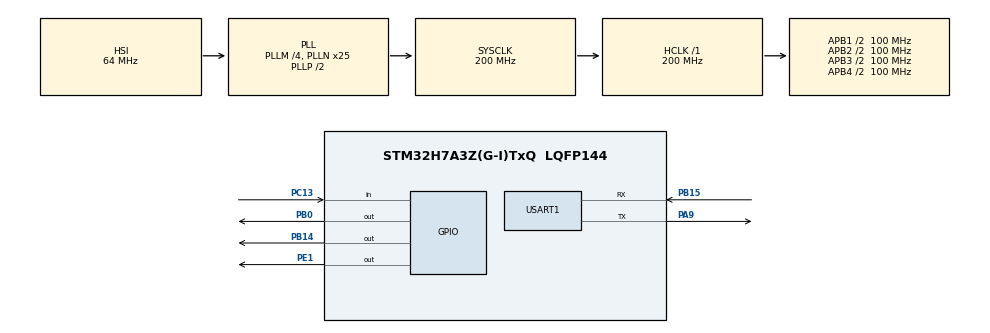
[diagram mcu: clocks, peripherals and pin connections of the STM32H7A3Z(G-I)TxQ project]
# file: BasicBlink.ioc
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CORTEX_M7.default_mode_Activation=1
FREERTOS.Tasks01=defaultTask,0,128,StartDefaultTask,Default,NULL,Dynamic,NULL,NULL
Mcu.Family=STM32H7
Mcu.Name=STM32H7A3Z(G-I)TxQ
Mcu.Package=LQFP144
NUCLEO-H7A3ZI-Q.BUTTON=1
NUCLEO-H7A3ZI-Q.LD1=true
NUCLEO-H7A3ZI-Q.LD2=true
NUCLEO-H7A3ZI-Q.LD3=true
NUCLEO-H7A3ZI-Q.VCP=true
NVIC.EXTI15_10_IRQn=true\:5\:0\:false\:false\:true\:true\:false\:true\:true
NVIC.PriorityGroup=NVIC_PRIORITYGROUP_4
NVIC.TIM1_UP_IRQn=true\:15\:0\:false\:false\:true\:false\:false\:true\:true
NVIC.TimeBase=TIM1_UP_IRQn
NVIC.TimeBaseIP=TIM1
PA9.GPIO_Speed=GPIO_SPEED_FREQ_VERY_HIGH
PA9.Mode=Asynchronous
PA9.Signal=USART1_TX
PB0.Signal=GPIO_Output
PB14.Signal=GPIO_Output
PB15.GPIO_Speed=GPIO_SPEED_FREQ_VERY_HIGH
PB15.Mode=Asynchronous
PB15.Signal=USART1_RX
PC13.Signal=GPIO_Input
PC14-OSC32_IN.GPIO_Label=OSC32_IN
PC14-OSC32_IN.Signal=RCC_OSC32_IN
PC15-OSC32_OUT.GPIO_Label=OSC32_OUT
PC15-OSC32_OUT.Signal=RCC_OSC32_OUT
PD8.Signal=USART3_TX
PD9.Signal=USART3_RX
PE1.Signal=GPIO_Output
PH0-OSC_IN.GPIO_Label=PH0-MCU
PH0-OSC_IN.Signal=RCC_OSC_IN
PH1-OSC_OUT.GPIO_Label=PH1-MCU
PH1-OSC_OUT.Signal=RCC_OSC_OUT
ProjectManager.HeapSize=0x200
ProjectManager.StackSize=0x400
ProjectManager.TargetToolchain=Makefile
RCC.ADCFreq_Value=129000000
RCC.APB1Freq_Value=100000000
RCC.APB2Freq_Value=100000000
RCC.APB3Freq_Value=100000000
RCC.APB4Freq_Value=100000000
RCC.CDPPRE=RCC_APB3_DIV2
RCC.CDPPRE1=RCC_APB1_DIV2
RCC.CDPPRE2=RCC_APB2_DIV2
RCC.CortexFreq_Value=200000000
RCC.DIVM1=4
RCC.DIVM3=1
RCC.DIVN1=25
RCC.DIVN3=24
RCC.DIVQ1=4
RCC.HCLKFreq_Value=200000000
RCC.HSE_VALUE=8000000
RCC.PLLFRACN=0
RCC.SRDPPRE=RCC_APB4_DIV2
RCC.SYSCLKFreq_VALUE=200000000
RCC.SYSCLKSource=RCC_SYSCLKSOURCE_PLLCLK
RCC.SupplySource=PWR_DIRECT_SMPS_SUPPLY
RCC.USBCLockSelection=RCC_USBCLKSOURCE_HSI48
RCC.USBFreq_Value=48000000
USART1.VirtualMode-Asynchronous=VM_ASYNC
VP_FREERTOS_VS_CMSIS_V1.Mode=CMSIS_V1
VP_MEMORYMAP_VS_MEMORYMAP.Mode=CurAppReg
VP_NUCLEO-H7A3ZI-Q_VS_BSP_COMMON.Mode=COMMON
VP_SYS_VS_tim1.Mode=TIM1
board=NUCLEO-H7A3ZI-Q

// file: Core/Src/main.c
/* USER CODE BEGIN Header */
/**
  ******************************************************************************
  * @file           : main.c
  * @brief          : Main program body
  ******************************************************************************
  * @attention
  *
  * Copyright (c) 2025 STMicroelectronics.
  * All rights reserved.
  *
  * This software is licensed under terms that can be found in the LICENSE file
  * in the root directory of this software component.
  * If no LICENSE file comes with this software, it is provided AS-IS.
  *
  ******************************************************************************
  */
/* USER CODE END Header */
#include "main.h"
#include "cmsis_os.h"
#include "usart.h"
#include "gpio.h"

/* USER CODE BEGIN Includes */
#include <stdint.h>
#include <stdio.h>
#include <string.h>
#include <stdarg.h>
/* USER CODE END Includes */

COM_InitTypeDef BspCOMInit;

void SystemClock_Config(void);
static void MPU_Config(void);
void MX_FREERTOS_Init(void);
/* USER CODE BEGIN PFP */
void vApplicationIdleHook(void)
{
    static uint8_t last_state = 1;
    if (!led_is_on && last_state)
        myprintf("Idle over serial\r\n");
    last_state = led_is_on;
}
/* USER CODE END PFP */

int main(void)
{

  /* MPU Configuration--------------------------------------------------------*/
  MPU_Config();

  /* MCU Configuration--------------------------------------------------------*/

  /* Reset of all peripherals, Initializes the Flash interface and the Systick. */
  HAL_Init();

  /* Configure the system clock */
  SystemClock_Config();

  /* Initialize all configured peripherals */
  MX_GPIO_Init();
  MX_USART1_UART_Init();
  /* USER CODE BEGIN 2 */
  HAL_Delay(1000);
  myprintf("Starting the freertos program.....\r\n");

  /* USER CODE END 2 */

  /* Call init function for freertos objects (in cmsis_os2.c) */
  MX_FREERTOS_Init();

  /* Initialize leds */
  BSP_LED_Init(LED_GREEN);
  BSP_LED_Init(LED_YELLOW);
  BSP_LED_Init(LED_RED);

  /* Initialize USER push-button, will be used to trigger an interrupt each time it's pressed.*/
  BSP_PB_Init(BUTTON_USER, BUTTON_MODE_EXTI);

  /* Initialize COM1 port (115200, 8 bits (7-bit data + 1 stop bit), no parity */
  BspCOMInit.BaudRate   = 115200;
  BspCOMInit.WordLength = COM_WORDLENGTH_8B;
  BspCOMInit.StopBits   = COM_STOPBITS_1;
  BspCOMInit.Parity     = COM_PARITY_NONE;
  BspCOMInit.HwFlowCtl  = COM_HWCONTROL_NONE;
  if (BSP_COM_Init(COM1, &BspCOMInit) != BSP_ERROR_NONE)
  {
    Error_Handler();
  }

  /* Start scheduler */
  osKernelStart();

  /* We should never get here as control is now taken by the scheduler */

  /* Infinite loop */
  while (1)
  {

  }
}

void SystemClock_Config(void)
{
  RCC_OscInitTypeDef RCC_OscInitStruct = {0};
  RCC_ClkInitTypeDef RCC_ClkInitStruct = {0};

  /*AXI clock gating */
  RCC->CKGAENR = 0xE003FFFF;

  /** Supply configuration update enable
  */
  HAL_PWREx_ConfigSupply(PWR_DIRECT_SMPS_SUPPLY);

  /** Configure the main internal regulator output voltage
  */
  __HAL_PWR_VOLTAGESCALING_CONFIG(PWR_REGULATOR_VOLTAGE_SCALE1);

  while(!__HAL_PWR_GET_FLAG(PWR_FLAG_VOSRDY)) {}

  /** Initializes the RCC Oscillators according to the specified parameters
  * in the RCC_OscInitTypeDef structure.
  */
  RCC_OscInitStruct.OscillatorType = RCC_OSCILLATORTYPE_HSI;
  RCC_OscInitStruct.HSIState = RCC_HSI_DIV1;
  RCC_OscInitStruct.HSICalibrationValue = 64;
  RCC_OscInitStruct.PLL.PLLState = RCC_PLL_ON;
  RCC_OscInitStruct.PLL.PLLSource = RCC_PLLSOURCE_HSI;
  RCC_OscInitStruct.PLL.PLLM = 4;
  RCC_OscInitStruct.PLL.PLLN = 25;
  RCC_OscInitStruct.PLL.PLLP = 2;
  RCC_OscInitStruct.PLL.PLLQ = 4;
  RCC_OscInitStruct.PLL.PLLR = 2;
  RCC_OscInitStruct.PLL.PLLRGE = RCC_PLL1VCIRANGE_3;
  RCC_OscInitStruct.PLL.PLLVCOSEL = RCC_PLL1VCOWIDE;
  RCC_OscInitStruct.PLL.PLLFRACN = 0;
  if (HAL_RCC_OscConfig(&RCC_OscInitStruct) != HAL_OK)
  {
    Error_Handler();
  }

  /** Initializes the CPU, AHB and APB buses clocks
  */
  RCC_ClkInitStruct.ClockType = RCC_CLOCKTYPE_HCLK|RCC_CLOCKTYPE_SYSCLK
                              |RCC_CLOCKTYPE_PCLK1|RCC_CLOCKTYPE_PCLK2
                              |RCC_CLOCKTYPE_D3PCLK1|RCC_CLOCKTYPE_D1PCLK1;
  RCC_ClkInitStruct.SYSCLKSource = RCC_SYSCLKSOURCE_PLLCLK;
  RCC_ClkInitStruct.SYSCLKDivider = RCC_SYSCLK_DIV1;
  RCC_ClkInitStruct.AHBCLKDivider = RCC_HCLK_DIV1;
  RCC_ClkInitStruct.APB3CLKDivider = RCC_APB3_DIV2;
  RCC_ClkInitStruct.APB1CLKDivider = RCC_APB1_DIV2;
  RCC_ClkInitStruct.APB2CLKDivider = RCC_APB2_DIV2;
  RCC_ClkInitStruct.APB4CLKDivider = RCC_APB4_DIV2;

  if (HAL_RCC_ClockConfig(&RCC_ClkInitStruct, FLASH_LATENCY_5) != HAL_OK)
  {
    Error_Handler();
  }
}

 /* MPU Configuration */

void MPU_Config(void)
{
  MPU_Region_InitTypeDef MPU_InitStruct = {0};

  /* Disables the MPU */
  HAL_MPU_Disable();

  /** Initializes and configures the Region and the memory to be protected
  */
  MPU_InitStruct.Enable = MPU_REGION_ENABLE;
  MPU_InitStruct.Number = MPU_REGION_NUMBER0;
  MPU_InitStruct.BaseAddress = 0x0;
  MPU_InitStruct.Size = MPU_REGION_SIZE_4GB;
  MPU_InitStruct.SubRegionDisable = 0x87;
  MPU_InitStruct.TypeExtField = MPU_TEX_LEVEL0;
  MPU_InitStruct.AccessPermission = MPU_REGION_NO_ACCESS;
  MPU_InitStruct.DisableExec = MPU_INSTRUCTION_ACCESS_DISABLE;
  MPU_InitStruct.IsShareable = MPU_ACCESS_SHAREABLE;
  MPU_InitStruct.IsCacheable = MPU_ACCESS_NOT_CACHEABLE;
  MPU_InitStruct.IsBufferable = MPU_ACCESS_NOT_BUFFERABLE;

  HAL_MPU_ConfigRegion(&MPU_InitStruct);
  /* Enables the MPU */
  HAL_MPU_Enable(MPU_PRIVILEGED_DEFAULT);

}

void HAL_TIM_PeriodElapsedCallback(TIM_HandleTypeDef *htim)
{
  if (htim->Instance == TIM1)
  {
    HAL_IncTick();
  }
}

void Error_Handler(void)
{
  __disable_irq();
  while (1)
  {
  }
}

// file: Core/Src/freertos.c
/* USER CODE BEGIN Header */
/**
  ******************************************************************************
  * File Name          : freertos.c
  * Description        : Code for freertos applications
  ******************************************************************************
  * @attention
  *
  * Copyright (c) 2025 STMicroelectronics.
  * All rights reserved.
  *
  * This software is licensed under terms that can be found in the LICENSE file
  * in the root directory of this software component.
  * If no LICENSE file comes with this software, it is provided AS-IS.
  *
  ******************************************************************************
  */
/* USER CODE END Header */

#include "FreeRTOS.h"
#include "stm32h7xx_nucleo.h"
#include "task.h"
#include "main.h"
#include "cmsis_os.h"

/* USER CODE BEGIN Includes */
#include "usart.h"

/* USER CODE END Includes */

/* USER CODE BEGIN Variables */
volatile uint8_t led_is_on = 0;
/* USER CODE END Variables */
osThreadId defaultTaskHandle;

void StartDefaultTask(void const * argument);

void MX_FREERTOS_Init(void); /* (MISRA C 2004 rule 8.1) */

/* GetIdleTaskMemory prototype (linked to static allocation support) */
void vApplicationGetIdleTaskMemory( StaticTask_t **ppxIdleTaskTCBBuffer, StackType_t **ppxIdleTaskStackBuffer, uint32_t *pulIdleTaskStackSize );

/* USER CODE BEGIN GET_IDLE_TASK_MEMORY */
static StaticTask_t xIdleTaskTCBBuffer;
static StackType_t xIdleStack[configMINIMAL_STACK_SIZE];

void vApplicationGetIdleTaskMemory( StaticTask_t **ppxIdleTaskTCBBuffer, StackType_t **ppxIdleTaskStackBuffer, uint32_t *pulIdleTaskStackSize )
{
  *ppxIdleTaskTCBBuffer = &xIdleTaskTCBBuffer;
  *ppxIdleTaskStackBuffer = &xIdleStack[0];
  *pulIdleTaskStackSize = configMINIMAL_STACK_SIZE;
  /* place for user code */
}
/* USER CODE END GET_IDLE_TASK_MEMORY */

void MX_FREERTOS_Init(void) {

  /* Create the thread(s) */
  /* definition and creation of defaultTask */
  osThreadDef(defaultTask, StartDefaultTask, osPriorityNormal, 0, 128);
  defaultTaskHandle = osThreadCreate(osThread(defaultTask), NULL);

}

void StartDefaultTask(void const * argument)
{
  /* USER CODE BEGIN StartDefaultTask */
  /* Infinite loop */
  for(;;)
  {
    BSP_LED_Toggle(LED_YELLOW);
    led_is_on = !led_is_on;
    osDelay(500);
  }
  /* USER CODE END StartDefaultTask */
}
